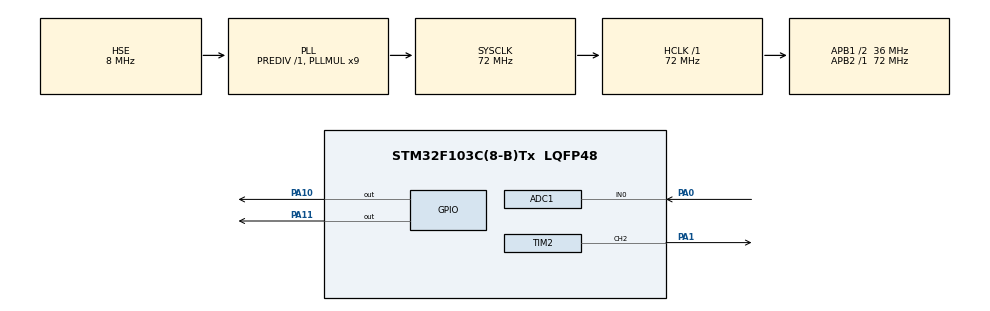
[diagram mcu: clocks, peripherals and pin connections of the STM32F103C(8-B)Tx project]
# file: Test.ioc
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ADC1.Channel-2\#ChannelRegularConversion=ADC_CHANNEL_0
ADC1.ContinuousConvMode=DISABLE
ADC1.ExternalTrigConv=ADC_SOFTWARE_START
ADC1.NbrOfConversion=1
ADC1.NbrOfConversionFlag=1
ADC1.Rank-2\#ChannelRegularConversion=1
ADC1.SamplingTime-2\#ChannelRegularConversion=ADC_SAMPLETIME_13CYCLES_5
ADC1.master=1
Mcu.Family=STM32F1
Mcu.Name=STM32F103C(8-B)Tx
Mcu.Package=LQFP48
NVIC.ADC1_2_IRQn=true\:0\:0\:false\:false\:true\:true\:true
NVIC.PriorityGroup=NVIC_PRIORITYGROUP_4
NVIC.TIM2_IRQn=true\:0\:0\:false\:false\:true\:true\:true
PA0-WKUP.Signal=ADCx_IN0
PA1.Signal=S_TIM2_CH2
PA10.GPIO_Speed=GPIO_SPEED_FREQ_HIGH
PA10.Signal=GPIO_Output
PA11.GPIO_Speed=GPIO_SPEED_FREQ_HIGH
PA11.Signal=GPIO_Output
PA13.Mode=Serial_Wire
PA13.Signal=SYS_JTMS-SWDIO
PA14.Mode=Serial_Wire
PA14.Signal=SYS_JTCK-SWCLK
PD0-OSC_IN.Mode=HSE-External-Oscillator
PD0-OSC_IN.Signal=RCC_OSC_IN
PD1-OSC_OUT.Mode=HSE-External-Oscillator
PD1-OSC_OUT.Signal=RCC_OSC_OUT
ProjectManager.HeapSize=0x200
ProjectManager.StackSize=0x400
ProjectManager.TargetToolchain=MDK-ARM V5.27
RCC.ADCPresc=RCC_ADCPCLK2_DIV6
RCC.AHBFreq_Value=72000000
RCC.APB1CLKDivider=RCC_HCLK_DIV2
RCC.APB1Freq_Value=36000000
RCC.APB1TimFreq_Value=72000000
RCC.APB2Freq_Value=72000000
RCC.APB2TimFreq_Value=72000000
RCC.HCLKFreq_Value=72000000
RCC.PLLMUL=RCC_PLL_MUL9
RCC.PLLSourceVirtual=RCC_PLLSOURCE_HSE
RCC.SYSCLKFreq_VALUE=72000000
RCC.SYSCLKSource=RCC_SYSCLKSOURCE_PLLCLK
RCC.USBFreq_Value=72000000
SH.ADCx_IN0.0=ADC1_IN0,IN0
SH.S_TIM2_CH2.0=TIM2_CH2,PWM Generation2 CH2
TIM2.Channel-PWM\ Generation2\ CH2=TIM_CHANNEL_2
TIM2.Period=10000
TIM2.Prescaler=143
TIM2.TIM_MasterOutputTrigger=TIM_TRGO_RESET
VP_TIM2_VS_ClockSourceINT.Mode=Internal
board=custom

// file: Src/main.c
/* USER CODE BEGIN Header */
/**
  ******************************************************************************
  * @file           : main.c
  * @brief          : Main program body
  ******************************************************************************
  * @attention
  *
  * <h2><center>&copy; Copyright (c) 2020 STMicroelectronics.
  * All rights reserved.</center></h2>
  *
  * This software component is licensed by ST under BSD 3-Clause license,
  * the "License"; You may not use this file except in compliance with the
  * License. You may obtain a copy of the License at:
  *                        opensource.org/licenses/BSD-3-Clause
  *
  ******************************************************************************
  */
/* USER CODE END Header */

#include "main.h"

ADC_HandleTypeDef hadc1;

TIM_HandleTypeDef htim2;

/* USER CODE BEGIN PV */
uint16_t adc_val = 0;
uint16_t pwm_val = 0;
/* USER CODE END PV */

void SystemClock_Config(void);
static void MX_GPIO_Init(void);
static void MX_ADC1_Init(void);
static void MX_TIM2_Init(void);

/* USER CODE BEGIN 0 */
void HAL_ADC_ConvCpltCallback(ADC_HandleTypeDef* hadc)
{
	if(hadc->Instance == ADC1)
	{
		adc_val = HAL_ADC_GetValue(&hadc1);
	}
}
/* USER CODE END 0 */

int main(void)
{

  /* MCU Configuration--------------------------------------------------------*/

  /* Reset of all peripherals, Initializes the Flash interface and the Systick. */
  HAL_Init();

  /* Configure the system clock */
  SystemClock_Config();

  /* Initialize all configured peripherals */
  MX_GPIO_Init();
  MX_ADC1_Init();
  MX_TIM2_Init();
  /* USER CODE BEGIN 2 */

  HAL_ADCEx_Calibration_Start(&hadc1);
  HAL_ADC_Start_IT(&hadc1);
  HAL_TIM_PWM_Start(&htim2, TIM_CHANNEL_2);

  /* USER CODE END 2 */

  /* Infinite loop */
  /* USER CODE BEGIN WHILE */
  while (1)
  {

	HAL_ADC_Start_IT(&hadc1);
	pwm_val = (uint16_t)(adc_val*0.1832 + 250);
	__HAL_TIM_SET_COMPARE(&htim2, TIM_CHANNEL_2, pwm_val);

	if (adc_val <= 15) {
		HAL_GPIO_WritePin(GPIOA, GPIO_PIN_10, GPIO_PIN_SET);
	}
	else if (adc_val >= 4080) {
		HAL_GPIO_WritePin(GPIOA, GPIO_PIN_11, GPIO_PIN_SET);
	}
	else {
		HAL_GPIO_WritePin(GPIOA, GPIO_PIN_10, GPIO_PIN_RESET);
		HAL_GPIO_WritePin(GPIOA, GPIO_PIN_11, GPIO_PIN_RESET);
	}
    /* USER CODE END WHILE */

  }
}

void SystemClock_Config(void)
{
  RCC_OscInitTypeDef RCC_OscInitStruct = {0};
  RCC_ClkInitTypeDef RCC_ClkInitStruct = {0};
  RCC_PeriphCLKInitTypeDef PeriphClkInit = {0};

  /** Initializes the CPU, AHB and APB busses clocks
  */
  RCC_OscInitStruct.OscillatorType = RCC_OSCILLATORTYPE_HSE;
  RCC_OscInitStruct.HSEState = RCC_HSE_ON;
  RCC_OscInitStruct.HSEPredivValue = RCC_HSE_PREDIV_DIV1;
  RCC_OscInitStruct.HSIState = RCC_HSI_ON;
  RCC_OscInitStruct.PLL.PLLState = RCC_PLL_ON;
  RCC_OscInitStruct.PLL.PLLSource = RCC_PLLSOURCE_HSE;
  RCC_OscInitStruct.PLL.PLLMUL = RCC_PLL_MUL9;
  if (HAL_RCC_OscConfig(&RCC_OscInitStruct) != HAL_OK)
  {
    Error_Handler();
  }
  /** Initializes the CPU, AHB and APB busses clocks
  */
  RCC_ClkInitStruct.ClockType = RCC_CLOCKTYPE_HCLK|RCC_CLOCKTYPE_SYSCLK
                              |RCC_CLOCKTYPE_PCLK1|RCC_CLOCKTYPE_PCLK2;
  RCC_ClkInitStruct.SYSCLKSource = RCC_SYSCLKSOURCE_PLLCLK;
  RCC_ClkInitStruct.AHBCLKDivider = RCC_SYSCLK_DIV1;
  RCC_ClkInitStruct.APB1CLKDivider = RCC_HCLK_DIV2;
  RCC_ClkInitStruct.APB2CLKDivider = RCC_HCLK_DIV1;

  if (HAL_RCC_ClockConfig(&RCC_ClkInitStruct, FLASH_LATENCY_2) != HAL_OK)
  {
    Error_Handler();
  }
  PeriphClkInit.PeriphClockSelection = RCC_PERIPHCLK_ADC;
  PeriphClkInit.AdcClockSelection = RCC_ADCPCLK2_DIV6;
  if (HAL_RCCEx_PeriphCLKConfig(&PeriphClkInit) != HAL_OK)
  {
    Error_Handler();
  }
}

static void MX_ADC1_Init(void)
{

  ADC_ChannelConfTypeDef sConfig = {0};

  /** Common config
  */
  hadc1.Instance = ADC1;
  hadc1.Init.ScanConvMode = ADC_SCAN_DISABLE;
  hadc1.Init.ContinuousConvMode = DISABLE;
  hadc1.Init.DiscontinuousConvMode = DISABLE;
  hadc1.Init.ExternalTrigConv = ADC_SOFTWARE_START;
  hadc1.Init.DataAlign = ADC_DATAALIGN_RIGHT;
  hadc1.Init.NbrOfConversion = 1;
  if (HAL_ADC_Init(&hadc1) != HAL_OK)
  {
    Error_Handler();
  }
  /** Configure Regular Channel
  */
  sConfig.Channel = ADC_CHANNEL_0;
  sConfig.Rank = ADC_REGULAR_RANK_1;
  sConfig.SamplingTime = ADC_SAMPLETIME_13CYCLES_5;
  if (HAL_ADC_ConfigChannel(&hadc1, &sConfig) != HAL_OK)
  {
    Error_Handler();
  }

}

static void MX_TIM2_Init(void)
{

  TIM_ClockConfigTypeDef sClockSourceConfig = {0};
  TIM_MasterConfigTypeDef sMasterConfig = {0};
  TIM_OC_InitTypeDef sConfigOC = {0};

  htim2.Instance = TIM2;
  htim2.Init.Prescaler = 143;
  htim2.Init.CounterMode = TIM_COUNTERMODE_UP;
  htim2.Init.Period = 10000;
  htim2.Init.ClockDivision = TIM_CLOCKDIVISION_DIV1;
  htim2.Init.AutoReloadPreload = TIM_AUTORELOAD_PRELOAD_DISABLE;
  if (HAL_TIM_Base_Init(&htim2) != HAL_OK)
  {
    Error_Handler();
  }
  sClockSourceConfig.ClockSource = TIM_CLOCKSOURCE_INTERNAL;
  if (HAL_TIM_ConfigClockSource(&htim2, &sClockSourceConfig) != HAL_OK)
  {
    Error_Handler();
  }
  if (HAL_TIM_PWM_Init(&htim2) != HAL_OK)
  {
    Error_Handler();
  }
  sMasterConfig.MasterOutputTrigger = TIM_TRGO_RESET;
  sMasterConfig.MasterSlaveMode = TIM_MASTERSLAVEMODE_DISABLE;
  if (HAL_TIMEx_MasterConfigSynchronization(&htim2, &sMasterConfig) != HAL_OK)
  {
    Error_Handler();
  }
  sConfigOC.OCMode = TIM_OCMODE_PWM1;
  sConfigOC.Pulse = 0;
  sConfigOC.OCPolarity = TIM_OCPOLARITY_HIGH;
  sConfigOC.OCFastMode = TIM_OCFAST_DISABLE;
  if (HAL_TIM_PWM_ConfigChannel(&htim2, &sConfigOC, TIM_CHANNEL_2) != HAL_OK)
  {
    Error_Handler();
  }
  HAL_TIM_MspPostInit(&htim2);

}

static void MX_GPIO_Init(void)
{
  GPIO_InitTypeDef GPIO_InitStruct = {0};

  /* GPIO Ports Clock Enable */
  __HAL_RCC_GPIOD_CLK_ENABLE();
  __HAL_RCC_GPIOA_CLK_ENABLE();

  /*Configure GPIO pin Output Level */
  HAL_GPIO_WritePin(GPIOA, GPIO_PIN_10|GPIO_PIN_11, GPIO_PIN_RESET);

  /*Configure GPIO pins : PA10 PA11 */
  GPIO_InitStruct.Pin = GPIO_PIN_10|GPIO_PIN_11;
  GPIO_InitStruct.Mode = GPIO_MODE_OUTPUT_PP;
  GPIO_InitStruct.Pull = GPIO_NOPULL;
  GPIO_InitStruct.Speed = GPIO_SPEED_FREQ_HIGH;
  HAL_GPIO_Init(GPIOA, &GPIO_InitStruct);

}

void Error_Handler(void)
{
}

/************************ (C) COPYRIGHT STMicroelectronics *****END OF FILE****/
